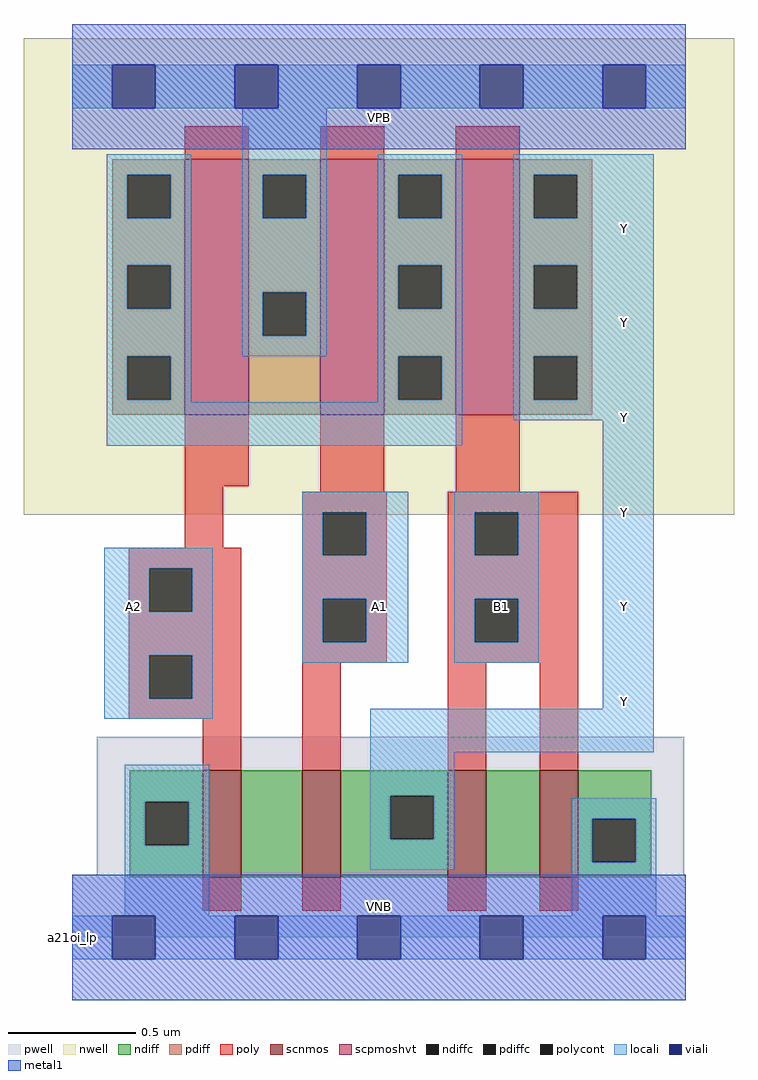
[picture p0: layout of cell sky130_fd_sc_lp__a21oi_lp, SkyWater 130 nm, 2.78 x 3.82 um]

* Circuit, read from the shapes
.subckt sky130_fd_sc_lp__a21oi_lp A1 A2 B1 VGND VNB VPB VPWR Y
XM1 n1 A2 VGND VNB sky130_fd_pr__nfet_01v8 w=0.42 l=0.15
XM2 Y A1 n1 VNB sky130_fd_pr__nfet_01v8 w=0.42 l=0.15
XM3 n2 B1 Y VNB sky130_fd_pr__nfet_01v8 w=0.42 l=0.15
XM4 VGND B1 n2 VNB sky130_fd_pr__nfet_01v8 w=0.42 l=0.15
XM5 VPWR A2 n3 VPB sky130_fd_pr__pfet_01v8_hvt w=1 l=0.25
XM6 n3 A1 VPWR VPB sky130_fd_pr__pfet_01v8_hvt w=1 l=0.25
XM7 Y B1 n3 VPB sky130_fd_pr__pfet_01v8_hvt w=1 l=0.25
.ends

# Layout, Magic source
magic
tech sky130A
magscale 1 2
<< nwell >>
rect -38 331 518 704
<< pwell >>
rect 19 49 479 157
rect 0 0 480 49
<< scnmos >>
rect 102 47 132 131
rect 180 47 210 131
rect 294 47 324 131
rect 366 47 396 131
<< scpmoshvt >>
rect 88 409 138 609
rect 194 409 244 609
rect 300 409 350 609
<< ndiff >>
rect 45 106 102 131
rect 45 72 57 106
rect 91 72 102 106
rect 45 47 102 72
rect 132 47 180 131
rect 210 111 294 131
rect 210 77 249 111
rect 283 77 294 111
rect 210 47 294 77
rect 324 47 366 131
rect 396 93 453 131
rect 396 59 407 93
rect 441 59 453 93
rect 396 47 453 59
<< pdiff >>
rect 31 597 88 609
rect 31 563 43 597
rect 77 563 88 597
rect 31 526 88 563
rect 31 492 43 526
rect 77 492 88 526
rect 31 455 88 492
rect 31 421 43 455
rect 77 421 88 455
rect 31 409 88 421
rect 138 597 194 609
rect 138 563 149 597
rect 183 563 194 597
rect 138 505 194 563
rect 138 471 149 505
rect 183 471 194 505
rect 138 409 194 471
rect 244 597 300 609
rect 244 563 255 597
rect 289 563 300 597
rect 244 526 300 563
rect 244 492 255 526
rect 289 492 300 526
rect 244 455 300 492
rect 244 421 255 455
rect 289 421 300 455
rect 244 409 300 421
rect 350 597 407 609
rect 350 563 361 597
rect 395 563 407 597
rect 350 526 407 563
rect 350 492 361 526
rect 395 492 407 526
rect 350 455 407 492
rect 350 421 361 455
rect 395 421 407 455
rect 350 409 407 421
<< ndiffc >>
rect 57 72 91 106
rect 249 77 283 111
rect 407 59 441 93
<< pdiffc >>
rect 43 563 77 597
rect 43 492 77 526
rect 43 421 77 455
rect 149 563 183 597
rect 149 471 183 505
rect 255 563 289 597
rect 255 492 289 526
rect 255 421 289 455
rect 361 563 395 597
rect 361 492 395 526
rect 361 421 395 455
<< poly >>
rect 88 609 138 635
rect 194 609 244 635
rect 300 609 350 635
rect 88 353 138 409
rect 88 305 118 353
rect 194 349 244 409
rect 300 349 350 409
rect 180 333 246 349
rect 44 289 132 305
rect 44 255 60 289
rect 94 255 132 289
rect 44 221 132 255
rect 44 187 60 221
rect 94 187 132 221
rect 44 171 132 187
rect 102 131 132 171
rect 180 299 196 333
rect 230 299 246 333
rect 180 265 246 299
rect 180 231 196 265
rect 230 231 246 265
rect 180 215 246 231
rect 294 333 396 349
rect 294 299 315 333
rect 349 299 396 333
rect 294 265 396 299
rect 294 231 315 265
rect 349 231 396 265
rect 294 215 396 231
rect 180 131 210 215
rect 294 131 324 215
rect 366 131 396 215
rect 102 21 132 47
rect 180 21 210 47
rect 294 21 324 47
rect 366 21 396 47
<< polycont >>
rect 60 255 94 289
rect 60 187 94 221
rect 196 299 230 333
rect 196 231 230 265
rect 315 299 349 333
rect 315 231 349 265
<< locali >>
rect 0 649 31 683
rect 65 649 127 683
rect 161 649 223 683
rect 257 649 319 683
rect 353 649 415 683
rect 449 649 480 683
rect 27 597 93 613
rect 27 563 43 597
rect 77 563 93 597
rect 27 526 93 563
rect 27 492 43 526
rect 77 492 93 526
rect 27 455 93 492
rect 133 597 199 649
rect 133 563 149 597
rect 183 563 199 597
rect 133 505 199 563
rect 133 471 149 505
rect 183 471 199 505
rect 133 455 199 471
rect 239 597 305 613
rect 239 563 255 597
rect 289 563 305 597
rect 239 526 305 563
rect 239 492 255 526
rect 289 492 305 526
rect 239 455 305 492
rect 27 421 43 455
rect 77 421 93 455
rect 27 419 93 421
rect 239 421 255 455
rect 289 421 305 455
rect 239 419 305 421
rect 27 385 305 419
rect 345 597 455 613
rect 345 563 361 597
rect 395 563 455 597
rect 345 526 455 563
rect 345 492 361 526
rect 395 492 455 526
rect 345 455 455 492
rect 345 421 361 455
rect 395 421 455 455
rect 345 405 455 421
rect 180 333 263 349
rect 25 289 110 305
rect 25 255 60 289
rect 94 255 110 289
rect 25 221 110 255
rect 25 187 60 221
rect 94 187 110 221
rect 180 299 196 333
rect 230 299 263 333
rect 180 265 263 299
rect 180 231 196 265
rect 230 231 263 265
rect 180 215 263 231
rect 299 333 365 349
rect 299 299 315 333
rect 349 299 365 333
rect 299 265 365 299
rect 299 231 315 265
rect 349 231 365 265
rect 299 215 365 231
rect 25 171 110 187
rect 415 179 455 405
rect 233 145 455 179
rect 41 106 107 135
rect 41 72 57 106
rect 91 72 107 106
rect 41 17 107 72
rect 233 111 299 145
rect 233 77 249 111
rect 283 77 299 111
rect 233 53 299 77
rect 391 93 457 109
rect 391 59 407 93
rect 441 59 457 93
rect 391 17 457 59
rect 0 -17 31 17
rect 65 -17 127 17
rect 161 -17 223 17
rect 257 -17 319 17
rect 353 -17 415 17
rect 449 -17 480 17
<< viali >>
rect 31 649 65 683
rect 127 649 161 683
rect 223 649 257 683
rect 319 649 353 683
rect 415 649 449 683
rect 31 -17 65 17
rect 127 -17 161 17
rect 223 -17 257 17
rect 319 -17 353 17
rect 415 -17 449 17
<< metal1 >>
rect 0 683 480 715
rect 0 649 31 683
rect 65 649 127 683
rect 161 649 223 683
rect 257 649 319 683
rect 353 649 415 683
rect 449 649 480 683
rect 0 617 480 649
rect 0 17 480 49
rect 0 -17 31 17
rect 65 -17 127 17
rect 161 -17 223 17
rect 257 -17 319 17
rect 353 -17 415 17
rect 449 -17 480 17
rect 0 -49 480 -17
<< labels >>
flabel pwell s 0 0 480 49 0 FreeSans 200 0 0 0 VNB
port 5 nsew ground bidirectional
flabel nwell s 0 617 480 666 0 FreeSans 200 0 0 0 VPB
port 6 nsew power bidirectional
rlabel comment s 0 0 0 0 4 a21oi_lp
flabel metal1 s 0 617 480 666 0 FreeSans 340 0 0 0 VPWR
port 7 nsew power bidirectional
flabel metal1 s 0 0 480 49 0 FreeSans 340 0 0 0 VGND
port 4 nsew ground bidirectional
flabel locali s 223 242 257 276 0 FreeSans 340 0 0 0 A1
port 1 nsew signal input
flabel locali s 31 242 65 276 0 FreeSans 340 0 0 0 A2
port 2 nsew signal input
flabel locali s 319 242 353 276 0 FreeSans 340 0 0 0 B1
port 3 nsew signal input
flabel locali s 415 168 449 202 0 FreeSans 340 0 0 0 Y
port 8 nsew signal output
flabel locali s 415 242 449 276 0 FreeSans 340 0 0 0 Y
port 8 nsew signal output
flabel locali s 415 316 449 350 0 FreeSans 340 0 0 0 Y
port 8 nsew signal output
flabel locali s 415 390 449 424 0 FreeSans 340 0 0 0 Y
port 8 nsew signal output
flabel locali s 415 464 449 498 0 FreeSans 340 0 0 0 Y
port 8 nsew signal output
flabel locali s 415 538 449 572 0 FreeSans 340 0 0 0 Y
port 8 nsew signal output
<< properties >>
string LEFsite unit
string LEFclass CORE
string FIXED_BBOX 0 0 480 666
string GDS_FILE $PDKPATH/libs.ref/sky130_fd_sc_lp/gds/sky130_fd_sc_lp.gds
string LEFsymmetry X Y R90
string GDS_END 3630956
string GDS_START 3625472
<< end >>
